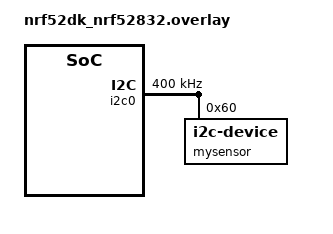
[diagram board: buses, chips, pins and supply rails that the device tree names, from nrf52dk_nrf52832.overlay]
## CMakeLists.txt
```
cmake_minimum_required(VERSION 3.20.0)
find_package(Zephyr REQUIRED HINTS $ENV{ZEPHYR_BASE})

project(VCNL)

target_sources(app PRIVATE src/main.c)
target_sources(app PRIVATE src/ui.c)
```

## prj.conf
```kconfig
# --- Core Console & System ---
CONFIG_PRINTK=y
CONFIG_STDOUT_CONSOLE=y
CONFIG_REBOOT=y

# --- UI Module (UART) ---
CONFIG_SERIAL=y
CONFIG_UART_ASYNC_API=y

# --- Hardware ---
CONFIG_I2C=y

# --- Floating Point for printk (Lux = %.1f) ---
CONFIG_CBPRINTF_FP_SUPPORT=y
```

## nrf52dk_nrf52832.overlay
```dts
&i2c0 {
    compatible = "nordic,nrf-twim";
    status = "okay";
    clock-frequency = <I2C_BITRATE_FAST>;
    
    pinctrl-0 = <&i2c0_default>;
    pinctrl-1 = <&i2c0_sleep>;
    pinctrl-names = "default", "sleep";

    /* Added 'mysensor' label and changed 'compatible' to raw I2C */
    mysensor: vcnl4040@60 {
        status = "okay";
        compatible = "i2c-device"; 
        reg = <0x60>;
    };
};
/* For node Configuration only */

// &pinctrl {
// 	uart0_default: uart0_default {
// 		group1 {
// 			psels = <NRF_PSEL(UART_TX, 0, 24)>, //6   for nrf52dk5832 / 5840
// 				<NRF_PSEL(UART_RX, 0, 23)>,   //8	  for nrf52dk5832
// 				<NRF_PSEL(UART_RTS, 0, 5)>,
// 				<NRF_PSEL(UART_CTS, 0, 7)>;
// 		};
// 	};

// 	uart0_sleep: uart0_sleep {
// 		group1 {
// 			psels = <NRF_PSEL(UART_TX, 0, 24)>,    //6
// 				<NRF_PSEL(UART_RX, 0, 23)>,        //8
// 				<NRF_PSEL(UART_RTS, 0, 5)>,
// 				<NRF_PSEL(UART_CTS, 0, 7)>;
// 			low-power-enable;
// 		};
// 	};
// 	i2c0_default: i2c0_default {
// 		group1 {
// 			psels = <NRF_PSEL(TWIM_SDA, 0, 26)>,  
// 				<NRF_PSEL(TWIM_SCL, 0, 25)>;      
// 		};
// 	};

// 	i2c0_sleep: i2c0_sleep {
// 		group1 {
// 			psels = <NRF_PSEL(TWIM_SDA, 0, 26)>,   
// 				<NRF_PSEL(TWIM_SCL, 0, 25)>;        
// 			low-power-enable;
// 		};
// 	};
// };
```

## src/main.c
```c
#include <zephyr/kernel.h>
#include <zephyr/device.h>
#include <zephyr/drivers/i2c.h>
#include <zephyr/sys/printk.h>
#include "ui.h"

// Grab the raw I2C node from the overlay
#define I2C0_NODE DT_NODELABEL(mysensor)

int main(void)
{
    if (ui_init() != 0) return -1;
    
    static const struct i2c_dt_spec dev_i2c = I2C_DT_SPEC_GET(I2C0_NODE);
    
    if (!device_is_ready(dev_i2c.bus)) 
    {
        printk("I2C bus is not ready.\n"); 
        return -1;                             
    }

    printk("Bypassing Zephyr Driver - Starting VCNL4040 Raw I2C\n");

    // Register 0x00 is ALS_CONF. 
    // Writing 0x00 (LSB) and 0x00 (MSB) turns on the Ambient Light Sensor
    uint8_t als_init[3] = {0x00, 0x00, 0x00}; 
    int ret = i2c_write_dt(&dev_i2c, als_init, sizeof(als_init));
    if (ret != 0) {
        printk("Failed to power on ALS. Error: %d\n", ret);
        return -1;
    }

    // Proximity initialization removed!

    while (1) 
    {
        // --- Read Light (Register 0x09) ---
        uint8_t light_cmd = 0x09;
        uint8_t light_data[2] = {0};
        i2c_write_read_dt(&dev_i2c, &light_cmd, 1, light_data, 2);
        
        uint16_t raw_lux = (light_data[1] << 8) | light_data[0];
        
        // VCNL4040 datasheet math: 0.1 lux per step. 
        // Cast to an integer so your %d printk statement works perfectly!
        int lux = (int)(raw_lux * 0.1); 

        // Print flawlessly
        printk(" VCNL4040: Lux=%d\n", lux); 

        // Get the updated delay interval from the UI
        int target_ms = ui_get_interval_ms();
        if (target_ms < 100) target_ms = 1000; // Safety Net

        int elapsed_ms = 0;
        while (elapsed_ms < target_ms) {
            if (ui_interval_changed()) {
                ui_clear_change_flag();
                break; 
            }
            k_msleep(100);
            elapsed_ms += 100;
        }
    }
    
    return 0;
}
```

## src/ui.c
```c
#include "ui.h"
#include <zephyr/kernel.h>
#include <zephyr/sys/printk.h>
#include <zephyr/sys/reboot.h>
#include <zephyr/drivers/uart.h>
#include <string.h>
#include <stdlib.h>
#include <ctype.h>

#define RX_BUF_SIZE     64
#define RX_TIMEOUT      25 
#define CMD_BUF_SIZE    256

static uint8_t rx_buf[RX_BUF_SIZE];
static char cmd_buf[CMD_BUF_SIZE];
static size_t cmd_len = 0;
static bool interval_updated = false;
static int interval_ms = 1000;

static const struct device *uart_dev = DEVICE_DT_GET(DT_CHOSEN(zephyr_console));

static void process_commands(void) {
    if (cmd_len == 0) return;

    // Ensure the string is null-terminated for string functions
    cmd_buf[cmd_len] = '\0';

    // 1. Check for Restart
    if (strstr(cmd_buf, "restartDevice")) {
        printk("Rebooting...\n");
        k_msleep(50);
        sys_reboot(SYS_REBOOT_COLD);
        return;
    }

    // 2. Check for Set Interval
    char *p = strstr(cmd_buf, "SET_INTERVAL:");
    if (p) {
        p += strlen("SET_INTERVAL:");

        // Skip non-digits (spaces, colons, etc.)
        while (*p != '\0' && !isdigit((unsigned char)*p)) {
            p++;
        }

        if (isdigit((unsigned char)*p)) {
            int value = atoi(p); // atoi reads all digits until a non-digit appears
            if (value > 0) {
                interval_ms = value * 1000;
                interval_updated = true;
                printk("Interval updated to %d seconds\n", value, interval_ms);
            }
        } else {
            printk("Invalid interval value\n");
        }
    }

    // Reset buffer for the next command
    cmd_len = 0;
    memset(cmd_buf, 0, sizeof(cmd_buf));
}

// --- UART Callback Logic ---
static void uart_cb(const struct device *dev, struct uart_event *evt, void *user_data) {
    switch (evt->type) {
    
    case UART_RX_RDY: {
        const uint8_t *data = &evt->data.rx.buf[evt->data.rx.offset];
        for (size_t i = 0; i < evt->data.rx.len; i++) {
            
            // If it's a newline, process IMMEDIATELY
            if (data[i] == '\r' || data[i] == '\n') {
                if (cmd_len > 0) {
                    process_commands(); 
                }
            } 
            // Add characters to buffer
            else if (cmd_len < CMD_BUF_SIZE - 1) {
                cmd_buf[cmd_len++] = data[i];
            }
        }
        
        /* * FIX FOR THE DELAY: 
         * If the user stops typing but didn't hit enter, 
         * we can choose to process after a small amount of data is received
         * to avoid the 10-second wait.
         */
        break;
    }

    case UART_RX_DISABLED:
      
        // Immediately re-enable with a shorter timeout (e.g., 10ms - 50ms)
        uart_rx_enable(dev, rx_buf, sizeof(rx_buf), 20); 
        break;

    default:
        break;
    }
}

int ui_init(void) {
    if (!device_is_ready(uart_dev)) return -1;
    uart_callback_set(uart_dev, uart_cb, NULL);
    return uart_rx_enable(uart_dev, rx_buf, sizeof(rx_buf), RX_TIMEOUT);
}

int ui_get_interval_ms(void) { return interval_ms; }
bool ui_interval_changed(void) { return interval_updated; }
void ui_clear_change_flag(void) { interval_updated = false; }
```

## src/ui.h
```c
#ifndef UI_H_
#define UI_H_

#include <zephyr/types.h>
#include <stdbool.h>

int ui_init(void);
int ui_get_interval_ms(void);
bool ui_interval_changed(void);
void ui_clear_change_flag(void);

#endif
```
